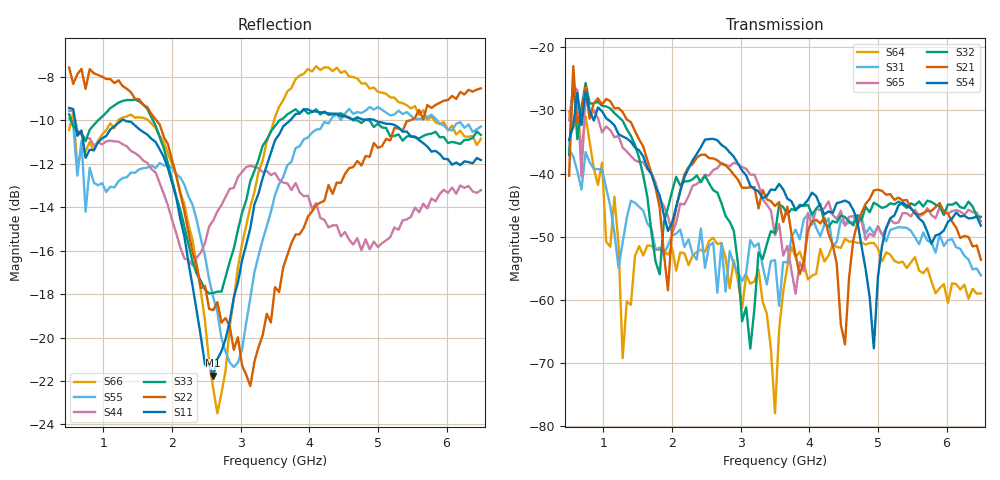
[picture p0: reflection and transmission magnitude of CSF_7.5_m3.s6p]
!Keysight Technologies,M9804A,MY58100912,A.14.10.03
!Date: Thursday, April 27, 2023 10:28:33
!Correction: S11(C  6-Port  )
!S12(C  6-Port  )
!S13(C  6-Port  )
!S14(C  6-Port  )
!S15(C  6-Port  )
!S16(C  6-Port  )
!S21(C  6-Port  )
!S22(C  6-Port  )
!S23(C  6-Port  )
!S24(C  6-Port  )
!S25(C  6-Port  )
!S26(C  6-Port  )
!S31(C  6-Port  )
!S32(C  6-Port  )
!S33(C  6-Port  )
!S34(C  6-Port  )
!S35(C  6-Port  )
!S36(C  6-Port  )
!S41(C  6-Port  )
!S42(C  6-Port  )
!S43(C  6-Port  )
!S44(C  6-Port  )
!S45(C  6-Port  )
!S46(C  6-Port  )
!S51(C  6-Port  )
!S52(C  6-Port  )
!S53(C  6-Port  )
!S54(C  6-Port  )
!S55(C  6-Port  )
!S56(C  6-Port  )
!S61(C  6-Port  )
!S62(C  6-Port  )
!S63(C  6-Port  )
!S64(C  6-Port  )
!S65(C  6-Port  )
!S66(C  6-Port  )
!S6P File: Measurement: :
# Hz S  RI  R 50
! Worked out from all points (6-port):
!   101 points, 500 MHz to 6.5 GHz, reference 50 ohm
!   strongest paths, dB at 500 MHz, 2 GHz, 3.5 GHz, 5 GHz, 6.5 GHz:
!     S54: -34.7, -47.8, -42.6, -56.4, -48.3
!     S21: -40.4, -48.8, -45.1, -42.6, -53.6
!     S32: -37.0, -42.8, -49.4, -45.0, -46.9
!     S65: -31.6, -49.5, -49.8, -48.3, -47.6
!     S31: -36.1, -49.8, -53.7, -48.4, -56.1
!     S64: -30.1, -51.7, -78.0, -51.9, -59.0
!   lowest |S11| = -21.8 dB at 2.6 GHz (marker M1), VSWR 1.18, Z = 42.7 + j1.94 ohm
!   |S11| at or under -10 dB: 585.4 MHz to 1.265 GHz (679.9 MHz wide, 73.5 % of centre); 1.306 GHz to 3.719 GHz (2.413 GHz wide, 96 % of centre); 4.957 GHz to end of sweep
